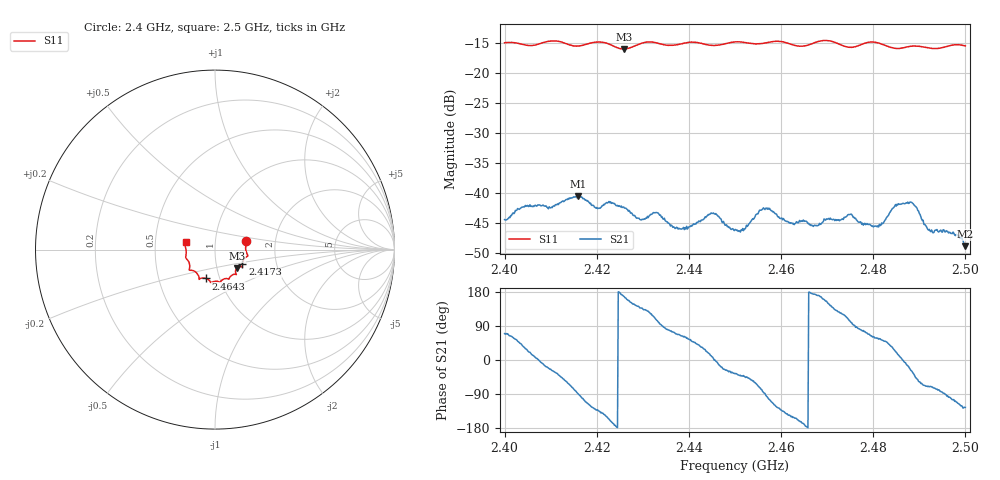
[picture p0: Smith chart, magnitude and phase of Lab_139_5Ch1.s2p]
# Hz S RI R 50
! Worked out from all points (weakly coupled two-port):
!   601 points, 2.4 GHz to 2.5 GHz, reference 50 ohm
!   highest |S21| = -40.56 dB at 2.416 GHz (marker M1); lowest = -48.9 dB at 2.5 GHz (marker M2)
!   lowest |S11| = -15.9 dB at 2.4258 GHz (marker M3), VSWR 1.38, Z = 62.2 - j13.2 ohm
!   |S11| at or under -10 dB: start of sweep to end of sweep
!   S12 and S22 are empty: the file has one direction only
!   S11 on the Smith chart (normalised r, x): 2.4 GHz: 1.41, +0.14; 2.4173 GHz: 1.34, -0.23; 2.4643 GHz: 0.86, -0.28; 2.5 GHz: 0.72, +0.06
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2.4e9  0.1733 0.0486  0.0021 0.00561  0 0  0 0
2.404333e9  0.1716 0.0217  0.00643 0.00415  0 0  0 0
2.416e9  0.1552 -0.0668  -3.05e-06 -0.00938  0 0  0 0
2.416667e9  0.1533 -0.0748  -0.00137 -0.00919  0 0  0 0
2.417333e9  0.1523 -0.0823  -0.00253 -0.00852  0 0  0 0
2.420167e9  0.1541 -0.0979  -0.00488 -0.00557  0 0  0 0
2.425833e9  0.1213 -0.1036  -0.00749 0.00153  0 0  0 0
2.429667e9  0.1166 -0.1348  -0.00436 0.00405  0 0  0 0
2.433333e9  0.1131 -0.1373  -0.00122 0.00669  0 0  0 0
2.438167e9  0.0818 -0.1556  0.00213 0.00453  0 0  0 0
2.445333e9  0.0527 -0.1626  0.00679 0.000444  0 0  0 0
2.45e9  0.0287 -0.1808  0.00399 -0.00293  0 0  0 0
2.456667e9  -0.0115 -0.1794  -0.000336 -0.00746  0 0  0 0
2.464333e9  -0.0501 -0.1607  -0.00553 -0.00172  0 0  0 0
2.466667e9  -0.076 -0.1591  -0.00536 0.000434  0 0  0 0
2.475e9  -0.1061 -0.1262  -0.00137 0.00647  0 0  0 0
2.480667e9  -0.1432 -0.1111  0.00277 0.00449  0 0  0 0
2.483333e9  -0.1408 -0.09  0.00483 0.00441  0 0  0 0
2.488333e9  -0.1615 -0.0483  0.0073 -0.00403  0 0  0 0
2.492e9  -0.161 -0.0254  0.00172 -0.00459  0 0  0 0
2.497833e9  -0.1703 0.0316  -0.00139 -0.00417  0 0  0 0
2.5e9  -0.164 0.0426  -0.00207 -0.00294  0 0  0 0
